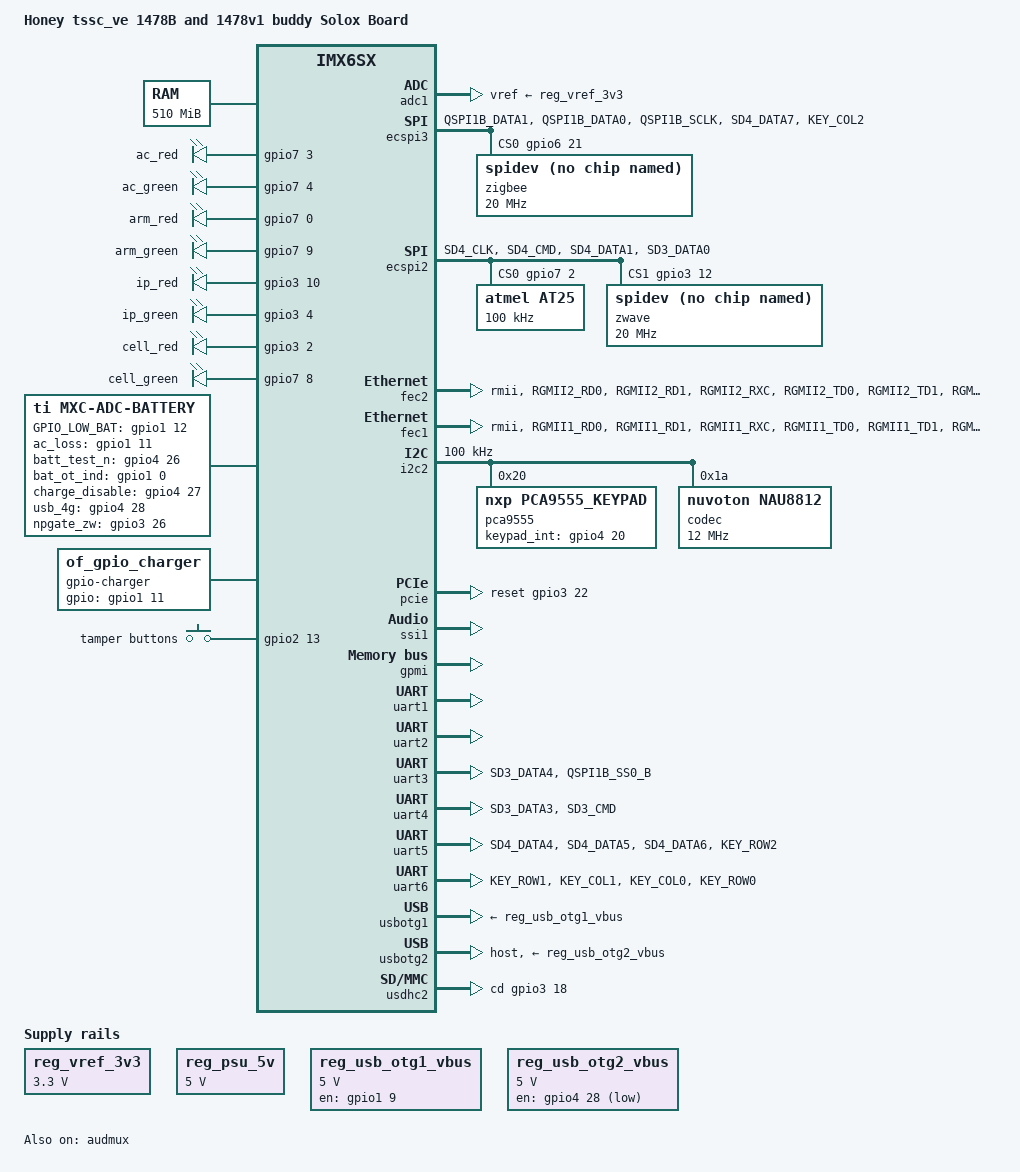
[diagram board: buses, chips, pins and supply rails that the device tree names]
/*
 * Copyright (C) 2014 Freescale Semiconductor, Inc.
 *
 * This program is free software; you can redistribute it and/or modify
 * it under the terms of the GNU General Public License version 2 as
 * published by the Free Software Foundation.
 */

/dts-v1/;

#include <dt-bindings/gpio/gpio.h>
#include "imx6sx.dtsi"

/ {
	model = "Honey tssc_ve 1478B and 1478v1 buddy Solox Board";
	compatible = "fsl,imx6sx-sdb", "fsl,imx6sx-1478B";
	
	memory {
		reg = <0x80000000 0x1FE00000>;
	};

    leds {
        compatible = "gpio-leds";

        ac-red {
            label = "ac_red";
            gpios = <&gpio7 3 0>;
            default-state = "off";
            retain-state-suspended;
        };

        ac-green {
            label = "ac_green";
            gpios = <&gpio7 4 0>;
            default-state = "off";
            retain-state-suspended;
        };

        arm-red {
            label = "arm_red";
            gpios = <&gpio7 0 0>;
            default-state = "on";
            retain-state-suspended;
        };

        arm-green {
            label = "arm_green";
            gpios = <&gpio7 9 0>;
            default-state = "off";
            retain-state-suspended;
        };

        ip-red {
            label = "ip_red";
            gpios = <&gpio3 10 0>;
            default-state = "on";
            retain-state-suspended;
        };

        ip-green {
            label = "ip_green";
            gpios = <&gpio3 4 0>;
            default-state = "off";
            retain-state-suspended;
        };

        cell-red {
            label = "cell_red";
            gpios = <&gpio3 2 0>;
            default-state = "on";
            retain-state-suspended;
        };

        cell-green {
            label = "cell_green";
            gpios = <&gpio7 8 0>;
            default-state = "off";
            retain-state-suspended;
        };
    
    };

	regulators {
		compatible = "simple-bus";

		reg_vref_3v3: regulator@0 {
			compatible = "regulator-fixed";
			regulator-name = "vref-3v3";
			regulator-min-microvolt = <3300000>;
			regulator-max-microvolt = <3300000>;
		};

		reg_psu_5v: psu_5v0 {
			compatible = "regulator-fixed";
			regulator-name = "PSU-5V0";
			regulator-min-microvolt = <5000000>;
			regulator-max-microvolt = <5000000>;
			regulator-boot-on;
		};

		reg_usb_otg1_vbus: usb_otg1_vbus {
			compatible = "regulator-fixed";
			regulator-name = "usb_otg1_vbus";
			regulator-min-microvolt = <5000000>;
			regulator-max-microvolt = <5000000>;
			gpio = <&gpio1 9 0>;
			enable-active-high;
		};
		
        reg_usb_otg2_vbus: usb_otg2_vbus {
			compatible = "regulator-fixed";
			regulator-name = "usb_otg2_vbus";
			regulator-min-microvolt = <5000000>;
			regulator-max-microvolt = <5000000>;
            gpio = <&gpio4 28 0>;
			regulator-boot-on;
		/*	enable-active-high;*/
	        	
        };

	};

		vgen4_reg: vgen4 {
			regulator-min-microvolt = <1800000>;
			regulator-max-microvolt = <3300000>;
			regulator-always-on;
		};
		vgen3_reg: vgen3 {
			regulator-min-microvolt = <1800000>;
			regulator-max-microvolt = <3300000>;
			regulator-always-on;
		};

    sound {
        compatible = "fsl,imx-audio-nau8812";
        model = "nau8812-audio";
        ssi-controller = <&ssi1>;
        audio-codec = <&codec>;
        audio-routing =
            "MIC_IN", "Mic Jack",
            "Mic Jack", "Mic Bias",
            "Headphone Jack", "HP_OUT";
        mux-int-port = <1>;
        mux-ext-port = <3>;
    };
    
    mxc-adc-battery{
		compatible = "ti,mxc-adc-battery";
        GPIO_LOW_BAT = <&gpio1 12 0>;
        enable_over_temp = <0>;
        low_bat_active_low = <1>;
        wakeup = <0>;
        debounce_interval = <500>;
        adc_id = <1>;
        adc_ch = <0>;
        volt_mult = <500000>;
        ac_loss=<&gpio1 11 0>;
        batt_test_n=<&gpio4 26 0>;
        bat_ot_ind=<&gpio1 0 0>;
        charge_disable=<&gpio4 27 0>; 
        usb_4g=<&gpio4 28 0>;
        npgate_zw=<&gpio3 26 0>;

        status = "okay";
     };

    gpio-charger {
        compatible = "of_gpio_charger";
        gpio = <&gpio1 11 0>;
        gpio_active_low = <1>;
        charger_name = "AC";
        debounce_interval = <10000>;
        wakeup = <1>;
        status = "okay";
    };

    gpio-key {
        compatible = "gpio-keys";
        tamper {
            label = "tamper buttons";
            gpios = <&gpio2 13 0>;
            linux,code = <103>;
            gpio-key,wakeup;
            debounce-interval = <1000>;
        };
    };
};

&adc1 {
	vref-supply = <&reg_vref_3v3>;
    adc_dev_id = <1>;
    status = "okay";
};

&ecspi3{
	fsl,spi-num-chipselects = <2>;
	cs-gpios = <&gpio6 21 0>,
            <&gpio2 12 0>;

    bus-id = <3>;
    pinctrl-names = "default";
	pinctrl-0 = <&pinctrl_ecspi3_1 &pinctrl_ecspi3_cs_1>;
    status = "okay";

    zigbee: zigbee@0x0{
		compatible = "rohm,dh2228fv";
		bus-num = <3>;
        spi-max-frequency = <20000000>;
		reg = <0>;
    };
};

&ecspi2{
	fsl,spi-num-chipselects = <2>;
	cs-gpios = <&gpio7 2 0>,<&gpio3 12 0>;  
    bus-id = <1>;

    pinctrl-names = "default";
	pinctrl-0 = <&pinctrl_ecspi2_1 &pinctrl_ecspi2_cs_1>;
    status = "okay";
    
    at25: at25@0 {
        compatible = "atmel,at25", "st,m95256";
        spi-max-frequency = <100000>;
		reg = <0>;
        pagesize = <64>;
        size = <32768>;
        address-width = <16>;
    };
    zwave: zwave@1{
		compatible = "rohm,dh2228fv";
		bus-num = <1>;
        spi-max-frequency = <20000000>;
		reg = <1>;
    };

};

&audmux {
	pinctrl-names = "default";
	pinctrl-0 = <&pinctrl_audmux_4>;
	status = "okay";
};

&fec2 {
	pinctrl-names = "default";
	pinctrl-0 = <&pinctrl_enet2_2 &pinctrl_enet2_clkout_1>;
	phy-mode = "rmii";
	phy-id = <0>;
    phy-reset-duration =<20>;
    mac-address = [00 1F 55 11 C8 6a];
    phy-reset-gpios = <&gpio5 23 1>; 
	fsl,num_tx_queues=<3>;
	fsl,num_rx_queues=<3>;
	status = "okay";
};

&fec1 {
	pinctrl-names = "default";
	pinctrl-0 = <&pinctrl_enet1_2 &pinctrl_enet1_clkout_2>;
	phy-mode = "rmii";
	phy-id = <0>;
    phy-reset-gpios = <&gpio5 11 1>; 
	phy-reset-duration =<20>;
    mac-address = [00 1F 55 11 C8 69];
    fsl,num_tx_queues=<3>;
	fsl,num_rx_queues=<3>;
	status = "okay";
};


&gpc {
	fsl,cpu_pupscr_sw2iso = <0xf>;
	fsl,cpu_pupscr_sw = <0xf>;
	fsl,cpu_pdnscr_iso2sw = <0x1>;
	fsl,cpu_pdnscr_iso = <0x1>;
	fsl,wdog-reset = <1>; /* watchdog select of reset source */
};



&i2c2 {
        clock-frequency = <100000>;
        pinctrl-names = "default";
        pinctrl-0 = <&pinctrl_i2c2_1>;
        status = "okay";

        pca9555: pca9555@20 {
	    	compatible ="nxp,pca9555_keypad";
            keypad_int=<&gpio4 20 0>;
			debounce_time = <20>;
            reg = <0x20>;
            status = "okay";
        };

        codec: nau8812@1a {
            compatible = "nuvoton,nau8812";
            reg = <0x1a>;
		    clocks = <&clks IMX6SX_CLK_AUDIO>;
            clock-frequency = <12000000>;
    };
};


&iomuxc {
	pinctrl-names = "default";
	pinctrl-0 = <&pinctrl_pgate_3g &pinctrl_uart4_5800 &pinctrl_audio
                 &pinctrl_enet_power &pinctrl_uart5_rf &pinctrl_gpio_reset
                 &pinctrl_uart6_zigbee &pinctrl_battery &pinctrl_wifi
                 &pinctrl_keypad &pinctrl_zwave_gpio &pinctrl_leds
                 >;

    leds {
        pinctrl_leds: ledsgrp {
        fsl,pins = <
            MX6SX_PAD_SD3_DATA1__GPIO7_IO_3     0x17059
            MX6SX_PAD_SD3_DATA2__GPIO7_IO_4     0x17059
            MX6SX_PAD_SD3_CLK__GPIO7_IO_0       0x17059
            MX6SX_PAD_SD3_DATA7__GPIO7_IO_9     0x17059
            MX6SX_PAD_LCD1_DATA09__GPIO3_IO_10  0x17059
            MX6SX_PAD_LCD1_DATA03__GPIO3_IO_4   0x17059
            MX6SX_PAD_LCD1_DATA01__GPIO3_IO_2   0x17059
            MX6SX_PAD_SD3_DATA6__GPIO7_IO_8     0x17059
            >;
         };
    };

	pgate-3g-ctrl {
		pinctrl_pgate_3g: pgate_3ggrp {
			fsl,pins = <
                MX6SX_PAD_QSPI1B_DQS__GPIO4_IO_28       0x17059                    
            >;
		};
	};
	
    uart4-5800-ctrl {
		pinctrl_uart4_5800: uart4_5800grp {
			fsl,pins = <
                MX6SX_PAD_LCD1_DATA19__GPIO3_IO_20       0x17059                     
                MX6SX_PAD_SD4_DATA2__GPIO6_IO_16         0x17059
            >;
		};
	};
    
    audio-ctrl {
		pinctrl_audio: audiogrp {
			fsl,pins = <
                MX6SX_PAD_GPIO1_IO13__GPIO1_IO_13       0x17059                     
                MX6SX_PAD_QSPI1A_SS1_B__GPIO4_IO_23         0x17059
            >;
		};
	};
    
    enet-power-ctrl {
		pinctrl_enet_power: enet_powergrp {
			fsl,pins = <
                MX6SX_PAD_QSPI1B_SS1_B__GPIO4_IO_31       0x17059                     
            >;
		};
	};
    
    uart5-rf-ctrl {
		pinctrl_uart5_rf: uart5_rfgrp {
			fsl,pins = <
                MX6SX_PAD_LCD1_CLK__GPIO3_IO_0       0x17059                     
                MX6SX_PAD_LCD1_DATA16__GPIO3_IO_17       0x17059                     
            >;
		};
	};
    
    gpio-reset-ctrl {
		pinctrl_gpio_reset: gpio_resetgrp {
			fsl,pins = <
                MX6SX_PAD_SD3_DATA5__GPIO7_IO_7      0x11059                     
            >;
		};
	};

   uart6-zigbee-ctrl {
        pinctrl_uart6_zigbee: uart6_zigbeegrp{
            fsl,pins = <
				MX6SX_PAD_RGMII2_TD2__GPIO5_IO_20 0x17059
				MX6SX_PAD_RGMII1_RD2__GPIO5_IO_2 0x17059
                MX6SX_PAD_LCD1_DATA15__GPIO3_IO_16 0x17059         
            >;             
        };
   }; 

   battery-ctrl {
        pinctrl_battery: batterygrp{
            fsl,pins = <
				MX6SX_PAD_QSPI1B_DATA2__GPIO4_IO_26 0x17059
				MX6SX_PAD_QSPI1B_DATA3__GPIO4_IO_27 0x17059
                MX6SX_PAD_GPIO1_IO11__GPIO1_IO_11 0x17059         
            >;             
        };
   }; 

   wifi-ctrl {
        pinctrl_wifi: wifigrp{
            fsl,pins = <
                MX6SX_PAD_LCD1_DATA21__GPIO3_IO_22         0x17059              
                MX6SX_PAD_LCD1_DATA20__GPIO3_IO_21         0x17059               
                MX6SX_PAD_LCD1_DATA08__GPIO3_IO_9          0x17059 
            >;              
        };
   };

   keypad-ctrl {
        pinctrl_keypad: keypadgrp{
            fsl,pins = <
                MX6SX_PAD_QSPI1A_DQS__GPIO4_IO_20                     0x17059  
            >;             
        };
   }; 
  
   zwave-gpio-ctrl {
        pinctrl_zwave_gpio: zwave_gpiogrp{
            fsl,pins = <
                MX6SX_PAD_LCD1_DATA11__GPIO3_IO_12         0x17059   
                MX6SX_PAD_LCD1_DATA22__GPIO3_IO_23         0x17059
                MX6SX_PAD_LCD1_HSYNC__GPIO3_IO_26          0x17059 
            >;             
        };
   }; 

   uart3 {
		pinctrl_uart3_1: uart3grp-1 {
			fsl,pins = <
				MX6SX_PAD_SD3_DATA4__UART3_RX 0x1b0b1
				MX6SX_PAD_QSPI1B_SS0_B__UART3_TX 0x1b0b1
			>;
		};
	};
    
    uart4 {
		pinctrl_uart4_1: uart4grp-1 {
			fsl,pins = <
				MX6SX_PAD_SD3_DATA3__UART4_RX 0x1b0b1
				MX6SX_PAD_SD3_CMD__UART4_TX 0x1b0b1
			>;
		};
	};

	uart5 {
		pinctrl_uart5_2: uart5grp-2 {
			fsl,pins = <
				MX6SX_PAD_SD4_DATA4__UART5_RX   0x1b0b1
				MX6SX_PAD_SD4_DATA5__UART5_TX   0x1b0b1
                
                MX6SX_PAD_SD4_DATA6__GPIO6_IO_20 0x1b0b1
				MX6SX_PAD_KEY_ROW2__GPIO2_IO_17 0x1b0b1
			>;
		};
	};

	uart6 {
		pinctrl_uart6_1: uart6grp-1 {
			fsl,pins = <
				MX6SX_PAD_KEY_ROW1__UART6_RX 0x1b0b1
				MX6SX_PAD_KEY_COL1__UART6_TX 0x1b0b1
				MX6SX_PAD_KEY_COL0__UART6_RTS_B 0x1b0b1
				MX6SX_PAD_KEY_ROW0__UART6_CTS_B 0x1b0b1
			>;
		};
	};

	enet1 {
		pinctrl_enet1_2: enet1grp-2 {
			fsl,pins = <
				MX6SX_PAD_RGMII1_RD0__ENET1_RX_DATA_0   0xb099
				MX6SX_PAD_RGMII1_RD1__ENET1_RX_DATA_1   0xb099
                MX6SX_PAD_RGMII1_RXC__ENET1_RX_ER       0xb099
				MX6SX_PAD_RGMII1_TD0__ENET1_TX_DATA_0   0xb099 
				MX6SX_PAD_RGMII1_TD1__ENET1_TX_DATA_1   0xb099
				MX6SX_PAD_RGMII1_TX_CTL__ENET1_TX_EN    0xb099
                MX6SX_PAD_ENET2_RX_CLK__GPIO2_IO_8      0x17059                  
				MX6SX_PAD_ENET1_MDIO__ENET1_MDIO        0xa089 
				MX6SX_PAD_ENET1_MDC__ENET1_MDC          0xa089
                MX6SX_PAD_RGMII1_TXC__GPIO5_IO_11       0xb099   /*output nRst*/
                MX6SX_PAD_RGMII1_RX_CTL__ENET1_RX_EN    0xb099
                >;
		};

		pinctrl_enet1_clkout_2: enet1_clkoutgrp-2 {
			fsl,pins = <
                MX6SX_PAD_ENET1_TX_CLK__ENET1_REF_CLK1  0x11 /* 50M*/
			>;
		};
	};

	enet2 {
		pinctrl_enet2_2: enet2grp-2 {
			fsl,pins = <
				MX6SX_PAD_RGMII2_RD0__ENET2_RX_DATA_0   0xb099
				MX6SX_PAD_RGMII2_RD1__ENET2_RX_DATA_1   0xb099
                MX6SX_PAD_RGMII2_RXC__ENET2_RX_ER       0x3081
				MX6SX_PAD_RGMII2_TD0__ENET2_TX_DATA_0   0xb099
				MX6SX_PAD_RGMII2_TD1__ENET2_TX_DATA_1   0xb099
				MX6SX_PAD_RGMII2_TX_CTL__ENET2_TX_EN    0xb099
                MX6SX_PAD_RGMII2_TXC__GPIO5_IO_23       0x17059 /*output nRst*/
                MX6SX_PAD_RGMII2_RX_CTL__ENET2_RX_EN    0xb099
                MX6SX_PAD_ENET1_CRS__ENET2_MDIO         0xa0b1
                MX6SX_PAD_ENET1_COL__ENET2_MDC          0xa0b1
                MX6SX_PAD_RGMII2_TD3__GPIO5_IO_21       0xb099
                >;
		};
		pinctrl_enet2_clkout_1: enet2_clkoutgrp-2 {
			fsl,pins = <
                MX6SX_PAD_ENET2_TX_CLK__ENET2_REF_CLK2 0x11 /* 50M*/
			>;
		};
	};
	
    usbotg1 {
		pinctrl_usbotg1_4: usbotg1grp-4 {
			fsl,pins = <
    			MX6SX_PAD_GPIO1_IO08__USB_OTG1_OC 0x17059
                MX6SX_PAD_GPIO1_IO09__USB_OTG1_PWR 0x17059
                MX6SX_PAD_GPIO1_IO10__ANATOP_OTG1_ID 0x17059
			>;
		};
    };
	
    audmux {
		pinctrl_audmux_4: audmuxgrp-4 {
			fsl,pins = <
                MX6SX_PAD_SD4_DATA0__AUDMUX_AUD3_RXD   0x130B0 
                MX6SX_PAD_LCD1_ENABLE__AUDMUX_AUD3_TXC  0x130B0
                MX6SX_PAD_SD4_DATA3__AUDMUX_AUD3_TXD   0x130B0 
                MX6SX_PAD_LCD1_VSYNC__AUDMUX_AUD3_TXFS  0x130B0   
                MX6SX_PAD_SD4_RESET_B__AUDMUX_MCLK      0x130B0 
                >;
		};
    };

	ecspi3 {
		pinctrl_ecspi3_cs_1: ecspi3_cs_grp-1 {
			fsl,pins = <
                MX6SX_PAD_SD4_DATA7__GPIO6_IO_21          0x80000000                     
                MX6SX_PAD_KEY_COL2__GPIO2_IO_12               0x80000000              
			>;
		};

		pinctrl_ecspi3_1: ecspi3grp-1 {
			fsl,pins = <
                MX6SX_PAD_QSPI1B_DATA1__ECSPI3_MISO                0x100b1       
                MX6SX_PAD_QSPI1B_DATA0__ECSPI3_MOSI                0x100b1       
                MX6SX_PAD_QSPI1B_SCLK__ECSPI3_SCLK                 0x11       
			>;
		};
	};

	ecspi2 {
		pinctrl_ecspi2_cs_1: ecspi2_cs_grp-1 {
            fsl,pins = <
                MX6SX_PAD_SD3_DATA0__GPIO7_IO_2                         0x80000000
			>;
		};

		pinctrl_ecspi2_1: ecspi2grp-1 {
			fsl,pins = <
                MX6SX_PAD_SD4_CLK__ECSPI2_MISO              0x100b1         
                MX6SX_PAD_SD4_CMD__ECSPI2_MOSI                0x100b1         
                MX6SX_PAD_SD4_DATA1__ECSPI2_SCLK              0x11         
			>;
		};
	};


};

&pcie {
    power-on-gpio = <&gpio3 9 0>;
    reset-gpio = <&gpio3 22 0>;
	status = "okay";
};

&ssi1 {
    status = "okay";
};

&gpmi {
	pinctrl-names = "default";
	pinctrl-0 = <&pinctrl_gpmi_nand_1>;
	status = "okay";
    fsl,use-minimum-ecc;
    nand-on-flash-bbt;
};


&uart1 {
    compatible = "fsl,imx21-uart";
	pinctrl-names = "default";
	pinctrl-0 = <&pinctrl_uart1_1>;
	status = "okay";
};

&uart2 {
    compatible = "fsl,imx21-uart";
	pinctrl-names = "default";
	pinctrl-0 = <&pinctrl_uart2_1>;
	status = "okay";
};

&uart3 {
    compatible = "fsl,imx21-uart";
	pinctrl-names = "default";
	pinctrl-0 = <&pinctrl_uart3_1>;
	status = "okay";
};

&uart4 {
    compatible = "fsl,imx21-uart";
	pinctrl-names = "default";
	pinctrl-0 = <&pinctrl_uart4_1>;
	status = "okay";
};

&uart5 { /* for RF6 */
    compatible = "fsl,imx21-uart";
	pinctrl-names = "default";
	pinctrl-0 = <&pinctrl_uart5_2>;
	fsl,uart-has-rtscts;
	status = "okay";
};

&uart6 { /* for ZigBee */
    compatible = "fsl,imx21-uart";
	pinctrl-names = "default";
	pinctrl-0 = <&pinctrl_uart6_1>;
	fsl,uart-has-rtscts;
	status = "okay";
};

&usbotg1 {
	vbus-supply = <&reg_usb_otg1_vbus>;
	pinctrl-names = "default";
	pinctrl-0 = <&pinctrl_usbotg1_1>;
	imx6-usb-charger-detection;
	status = "okay";
};

&usbotg2 {
	vbus-supply = <&reg_usb_otg2_vbus>;
	dr_mode = "host";
	status = "okay";
};

&usdhc2 {
	pinctrl-names = "default";
	pinctrl-0 = <&pinctrl_usdhc2_1>;
	no-1-8-v;
    cd-gpios = <&gpio3 18 0>;
 //   wp-gpios = <&gpio5 3 1>;
    status = "okay";
};


